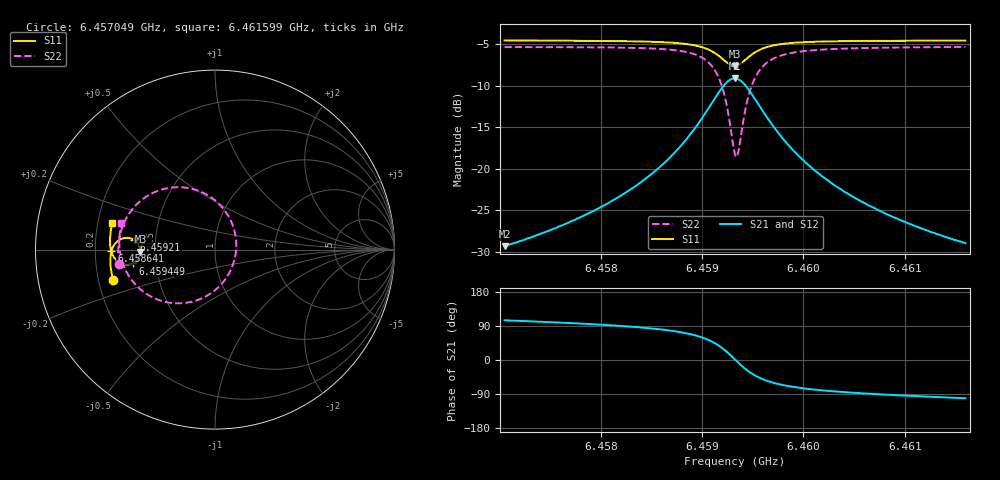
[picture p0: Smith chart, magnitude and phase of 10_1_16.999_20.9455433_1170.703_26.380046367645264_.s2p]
#  HZ  S  RI  R  50.00
! Rohde & Schwarz Vector Network Analyzer
! Rohde-Schwarz,ZNB20-2Port,1311601062101988,3.16
! Created: UTC 3/20/2024, 10:52:26 PM
! freq[Hz]  re:S11  im:S11  re:S21  im:S21  re:S12  im:S12  re:S22  im:S22
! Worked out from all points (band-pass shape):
!   401 points, 6.457049 GHz to 6.461599 GHz, reference 50 ohm
!   highest |S21| = -9.13 dB at 6.459324 GHz (marker M1); lowest = -29.3 dB at 6.457049 GHz (marker M2)
!   |S21| within 3 dB of the highest: 6.459093 GHz to 6.459548 GHz (454.9 kHz wide, 0.00704 % of centre)
!   lowest |S11| = -7.6 dB at 6.459324 GHz (marker M3), VSWR 2.42, Z = 20.6 - j0.564 ohm
!   |S11| at or under -10 dB: nowhere
!   |S22| runs from -18.6 to -5.3 dB; largest |S21 - S12| = 0.014
!   S11 on the Smith chart (normalised r, x): 6.457049 GHz: 0.26, -0.14; 6.458641 GHz: 0.27, -0.01; 6.45921 GHz: 0.38, +0.05; 6.459449 GHz: 0.37, -0.07; 6.461599 GHz: 0.26, +0.12
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6.4570486e9  -0.5675 -0.1682  -0.00873 0.033  -0.00693 0.0329  -0.5344 -0.0779
6.4578107e9  -0.5809 -0.1013  -0.00518 0.0512  -0.00275 0.0505  -0.5385 0.0121
6.4582203e9  -0.5836 -0.0602  0.000705 0.0701  0.00391 0.0688  -0.5298 0.0775
6.4585729e9  -0.5792 -0.0177  0.0153 0.1001  0.0193 0.0973  -0.5028 0.1576
6.4586412e9  -0.5769 -0.00825  0.0208 0.1085  0.0249 0.1053  -0.4924 0.1778
6.4588346e9  -0.5639 0.0223  0.0481 0.1398  0.0523 0.1348  -0.4408 0.2474
6.4589824e9  -0.5405 0.0487  0.0948 0.1705  0.098 0.1637  -0.3547 0.3116
6.459119e9  -0.4955 0.0656  0.1842 0.1859  0.1853 0.1785  -0.1909 0.3474
6.45921e9  -0.4502 0.0541  0.2754 0.1519  0.2761 0.1459  -0.0221 0.291
6.4592782e9  -0.4213 0.0205  0.335 0.0769  0.3376 0.0712  0.0909 0.155
6.4593237e9  -0.4154 -0.0113  0.3495 0.00761  0.3535 -6.34e-05  0.1186 0.0251
6.4593351e9  -0.416 -0.0194  0.3487 -0.0102  0.3528 -0.0187  0.1169 -0.00894
6.4593578e9  -0.4201 -0.0351  0.3419 -0.0452  0.3459 -0.0551  0.1031 -0.0748
6.4594033e9  -0.4366 -0.061  0.3116 -0.1047  0.3134 -0.1171  0.041 -0.1863
6.4594489e9  -0.4591 -0.077  0.2683 -0.1445  0.2669 -0.1581  -0.0467 -0.2583
6.4595399e9  -0.5027 -0.0831  0.1828 -0.1737  0.1762 -0.1852  -0.2162 -0.2992
6.4596877e9  -0.5466 -0.062  0.0953 -0.1585  0.0865 -0.1644  -0.3823 -0.2465
6.4598584e9  -0.5691 -0.0325  0.0487 -0.1281  0.0409 -0.1306  -0.4649 -0.1688
6.4600859e9  -0.5807 0.00108  0.0218 -0.0981  0.016 -0.0986  -0.5085 -0.0907
6.4604158e9  -0.5852 0.0407  0.00633 -0.0716  0.00215 -0.0711  -0.5289 -0.0135
6.4608481e9  -0.5833 0.0844  -0.00163 -0.0522  -0.00449 -0.0514  -0.5329 0.0567
6.4615989e9  -0.5713 0.1509  -0.00671 -0.0348  -0.00832 -0.0338  -0.5213 0.1458
